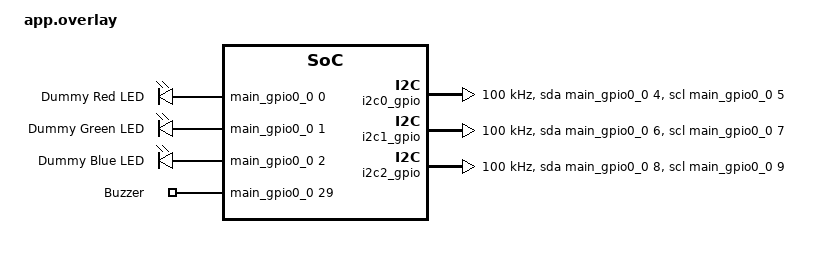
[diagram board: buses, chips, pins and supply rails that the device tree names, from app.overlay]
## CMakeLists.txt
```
cmake_minimum_required(VERSION 3.20.0)
find_package(Zephyr REQUIRED HINTS $ENV{ZEPHYR_BASE})
project(badge_launcher)

target_sources(app PRIVATE 
    src/main.c
    src/snake_game.c
    src/button_test.c
    src/beaglegotchi.c
    src/dvd_app.c
    
    # Assets
    src/assets/dvd/dvd.c
    src/assets/shutdown/qr.c
    src/assets/ti_logo.c
    src/assets/badge/badge_andrei.c
    src/assets/badge/sonia.c
    src/assets/badge/sonia.c
    src/assets/badge/roland.c
    src/assets/badge/tux155.c
    src/photos_app.c
    src/assets/photos/photo_1.c
    src/assets/photos/photo_2.c
    src/assets/photos/photo_3.c
    src/assets/photos/photo_4.c
    src/assets/photos/photo_5.c
    src/assets/photos/photo_6.c
    src/badge_mode_app.c
    src/i2c_scanner_app.c
    src/shutdown_app.c
    src/beagle_run.c
    src/space_invaders.c
    src/brick_breaker.c
    src/beagle_man.c
    src/froggr.c
    src/about_app.c
    src/serial_monitor.c
    src/timer_app.c
    src/chip_tunez.c
    src/assets/dvd/beagle.c
    src/assets/beaglegotchi/eating.c
    src/assets/beaglegotchi/hungry.c
    src/assets/beaglegotchi/sleeping.c
    src/assets/beaglegotchi/standard.c
)

target_include_directories(app PRIVATE src/assets/beaglegotchi)
```

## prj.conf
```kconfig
CONFIG_LOG=y
CONFIG_LOG_MODE_IMMEDIATE=y
CONFIG_CBPRINTF_FP_SUPPORT=y

CONFIG_GPIO=y
CONFIG_SERIAL=y
CONFIG_UART_INTERRUPT_DRIVEN=y
CONFIG_CONSOLE=y
CONFIG_UART_CONSOLE=y
CONFIG_RESET=y
CONFIG_SHELL=y

CONFIG_MAIN_STACK_SIZE=65536
CONFIG_HEAP_MEM_POOL_SIZE=16777216
CONFIG_LV_Z_MEM_POOL_SIZE=1048576
CONFIG_KERNEL_VM_SIZE=0x10000000

CONFIG_COMMON_LIBC_MALLOC=y


CONFIG_DISPLAY=y
CONFIG_DISPLAY_LOG_LEVEL_ERR=y

CONFIG_LV_Z_MEM_POOL_SIZE=131072
CONFIG_LV_Z_SHELL=y
CONFIG_LVGL=y
CONFIG_LV_USE_LOG=y
CONFIG_LV_USE_LABEL=y
# CONFIG_LV_USE_BTN is implicit/deprecated
# CONFIG_LV_USE_IMG is implicit/deprecated
CONFIG_LV_FONT_MONTSERRAT_14=y
CONFIG_LV_FONT_MONTSERRAT_18=y
CONFIG_LV_FONT_MONTSERRAT_24=y
CONFIG_LV_FONT_MONTSERRAT_48=y
CONFIG_LV_COLOR_DEPTH_1=y
CONFIG_LV_Z_VDB_SIZE=100
CONFIG_LV_Z_DOUBLE_VDB=n

CONFIG_INPUT=y
CONFIG_INPUT_LOG_LEVEL_DBG=y

CONFIG_SPI=y
CONFIG_SPI_BITBANG=y

CONFIG_I2C=y
CONFIG_I2C_GPIO=y

CONFIG_TEST_RANDOM_GENERATOR=y
CONFIG_ENTROPY_GENERATOR=y
```

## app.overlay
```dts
/*
 * Copyright (C) 2024 BeagleBoard.org
 *
 * SPDX-License-Identifier: Apache-2.0
 */

#include <zephyr/dt-bindings/gpio/gpio.h>

/ {
	aliases {
		btn-up = &btn_up;
		btn-down = &btn_down;
		btn-left = &btn_left;
		btn-right = &btn_right;
		btn-select = &btn_select;
		btn-back = &btn_back;
		led-red = &led_red_dummy;
		led-green = &led_green_dummy;
		led-blue = &led_blue_dummy;
		buzzer = &buzzer;
		i2c0 = &i2c0_gpio;
		i2c1 = &i2c1_gpio;
		i2c2 = &i2c2_gpio;
	};

	leds {
		compatible = "gpio-leds";
		led_red_dummy: led_red_dummy {
			gpios = <&main_gpio0_0 0 GPIO_ACTIVE_HIGH>;
			label = "Dummy Red LED";
		};
		led_green_dummy: led_green_dummy {
			gpios = <&main_gpio0_0 1 GPIO_ACTIVE_HIGH>;
			label = "Dummy Green LED";
		};
		led_blue_dummy: led_blue_dummy {
			gpios = <&main_gpio0_0 2 GPIO_ACTIVE_HIGH>;
			label = "Dummy Blue LED";
		};
	};

	buzzers {
		compatible = "gpio-leds"; // Move this to PWM when that starts working

		buzzer: buzzer_0 {
			gpios = <&main_gpio0_0 29 GPIO_ACTIVE_HIGH>;
			label = "Buzzer";
		};
	};


	i2c0_gpio: i2c0_gpio {
		compatible = "gpio-i2c";
		status = "okay";
		sda-gpios = <&main_gpio0_0 4 (GPIO_ACTIVE_HIGH | GPIO_OPEN_DRAIN)>;
		scl-gpios = <&main_gpio0_0 5 (GPIO_ACTIVE_HIGH | GPIO_OPEN_DRAIN)>;
		clock-frequency = <100000>;
		#address-cells = <1>;
		#size-cells = <0>;
	};

	i2c1_gpio: i2c1_gpio {
		compatible = "gpio-i2c";
		status = "okay";
		sda-gpios = <&main_gpio0_0 6 (GPIO_ACTIVE_HIGH | GPIO_OPEN_DRAIN)>;
		scl-gpios = <&main_gpio0_0 7 (GPIO_ACTIVE_HIGH | GPIO_OPEN_DRAIN)>;
		clock-frequency = <100000>;
		#address-cells = <1>;
		#size-cells = <0>;
	};

	i2c2_gpio: i2c2_gpio {
		compatible = "gpio-i2c";
		status = "okay";
		sda-gpios = <&main_gpio0_0 8 (GPIO_ACTIVE_HIGH | GPIO_OPEN_DRAIN)>;
		scl-gpios = <&main_gpio0_0 9 (GPIO_ACTIVE_HIGH | GPIO_OPEN_DRAIN)>;
		clock-frequency = <100000>;
		#address-cells = <1>;
		#size-cells = <0>;
	};
};
```

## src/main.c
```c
#include "about_app.h"
#include "app_shared.h"
#include "badge_mode_app.h"
#include "beagle_man.h"
#include "beagle_run.h"
#include "beaglegotchi.h"
#include "brick_breaker.h"
#include "button_test.h"
#include "chip_tunez.h"
#include "dvd_app.h"
#include "froggr.h" // Disabled in menu but include kept
#include "i2c_scanner_app.h"
#include "photos_app.h"
#include "serial_monitor.h"
#include "shutdown_app.h"
#include "snake_game.h"
#include "space_invaders.h" // Disabled
#include "timer_app.h"

#include <zephyr/drivers/display.h>
#include <zephyr/random/random.h>
#include <zephyr/version.h>

LOG_MODULE_REGISTER(badge_launcher);

/* Assets */
LV_IMG_DECLARE(ti_logo);
LV_IMG_DECLARE(beagle);

/* Hardware Definitions */
const struct gpio_dt_spec btn_up = GPIO_DT_SPEC_GET(DT_ALIAS(btn_up), gpios);
const struct gpio_dt_spec btn_down =
    GPIO_DT_SPEC_GET(DT_ALIAS(btn_down), gpios);
const struct gpio_dt_spec btn_left =
    GPIO_DT_SPEC_GET(DT_ALIAS(btn_left), gpios);
const struct gpio_dt_spec btn_right =
    GPIO_DT_SPEC_GET(DT_ALIAS(btn_right), gpios);
const struct gpio_dt_spec btn_select =
    GPIO_DT_SPEC_GET(DT_ALIAS(btn_select), gpios);
const struct gpio_dt_spec btn_back =
    GPIO_DT_SPEC_GET(DT_ALIAS(btn_back), gpios); // Using Back button

/* LEDs */
// Green, Blue or similar. I will use led0, led1, led2.
const struct gpio_dt_spec led_red = GPIO_DT_SPEC_GET(DT_ALIAS(led_red), gpios);
const struct gpio_dt_spec led_green =
    GPIO_DT_SPEC_GET(DT_ALIAS(led_green), gpios);
const struct gpio_dt_spec led_blue =
    GPIO_DT_SPEC_GET(DT_ALIAS(led_blue), gpios);

/* Buzzer */
const struct gpio_dt_spec buzzer = GPIO_DT_SPEC_GET(DT_ALIAS(buzzer), gpios);

/* Audio Helpers */
static bool is_muted = false;
void play_beep_move(void) {
  if (is_muted)
    return;
  if (gpio_is_ready_dt(&buzzer)) {
    for (int i = 0; i < 20; i++) {
      gpio_pin_set_dt(&buzzer, 1);
      k_usleep(250);
      gpio_pin_set_dt(&buzzer, 0);
      k_usleep(250);
    }
  }
}
void play_beep_eat(void) {
  if (is_muted)
    return;
  if (gpio_is_ready_dt(&buzzer)) {
    for (int i = 0; i < 50; i++) {
      gpio_pin_set_dt(&buzzer, 1);
      k_usleep(500 - (i * 5));
      gpio_pin_set_dt(&buzzer, 0);
      k_usleep(500 - (i * 5));
    }
  }
}
void play_beep_die(void) {
  if (is_muted)
    return;
  if (gpio_is_ready_dt(&buzzer)) {
    for (int i = 0; i < 100; i++) {
      gpio_pin_set_dt(&buzzer, 1);
      k_usleep(1000 + (i * 20));
      gpio_pin_set_dt(&buzzer, 0);
      k_usleep(1000 + (i * 20));
    }
  }
}

// --- Globals ---
static App *current_app = NULL;
static App *next_app = NULL;
static bool menu_needs_redraw = true;

// --- Mute Toggle App ---
static char mute_app_name[20] = "Sound: ON";

static void update_mute_label(void) {
  if (is_muted) {
    snprintf(mute_app_name, sizeof(mute_app_name), "Sound: OFF");
  } else {
    snprintf(mute_app_name, sizeof(mute_app_name), "Sound: ON");
  }
}

static void mute_app_enter(void) {
  is_muted = !is_muted;
  update_mute_label();
  if (!is_muted) {
    play_beep_move();
  }
}

// Forward declaration of menu_app for return logic
extern App menu_app;
static void mute_app_return(void) { next_app = &menu_app; }

static void mute_app_exit(void) {}

App mute_app = {.name = mute_app_name,
                .enter = mute_app_enter,
                .update = mute_app_return,
                .exit = mute_app_exit};

/* Menu App */
/* Menu App Logic */

// --- Category Arrays ---
// Games
static App *apps_games[] = {
    &beaglegotchi_app, &snake_game_app,
    //&beagle_run_app, &space_invaders_app, // Disabled
    &brick_breaker_app,
    //&beagle_man_app, &froggr_app // Disabled
};
#define NUM_GAMES 3

// Apps (Badge Mode moved to root)
static App *apps_apps[] = {&dvd_app, &chip_tunez_app, &timer_app, &photos_app};
#define NUM_APPS_CAT 4

// Tools
static App *apps_tools[] = {&i2c_scanner_app, &button_test_app,
                            &serial_monitor_app};
#define NUM_TOOLS 3

// Settings
static App *apps_settings[] = {&mute_app, &about_app, &shutdown_app};
#define NUM_SETTINGS 3

// Root Categories (Added Badge Mode)
static const char *category_names[] = {"Badge Mode", "Apps", "Games", "Tools",
                                       "Settings"};
#define NUM_CATEGORIES 5

// --- State ---
typedef enum { MENU_ROOT, MENU_SUBMENU } MenuState;

static MenuState current_state = MENU_ROOT;
static int selected_index = 0; // Index within current view (Category or App)
static int selected_category_index = 0; // Remember selected category
static App **current_app_list = NULL;   // Pointer to current submenu array
static int current_list_count = 0;

static lv_obj_t *menu_list_cont;
static lv_obj_t *arrow_up;
static lv_obj_t *arrow_down;
static lv_obj_t *menu_items[10]; // Max items viewable/cache

static void update_menu_selection(void); // Forward Declaration

static void create_menu_item(lv_obj_t *parent, int index, const char *text) {
  // Container
  lv_obj_t *cont = lv_obj_create(parent);
  lv_obj_set_size(cont, LV_PCT(100),
                  40); // Fill width of parent column, fixed height
  lv_obj_set_style_pad_all(cont, 0, 0);
  lv_obj_set_style_border_width(cont, 1, 0); // 1px border by default
  lv_obj_set_style_radius(cont, 0, 0);       // No radius for sharp E-Ink look

  // Label
  lv_obj_t *label = lv_label_create(cont);
  lv_label_set_text(label, text);
  lv_obj_center(label);
  // Use Montserat 18 for readability
  lv_obj_set_style_text_font(label, &lv_font_montserrat_18, 0);

  menu_items[index] = cont;
}

static int view_start = 0;
#define MAX_VISIBLE_ITEMS 5

static void update_menu_selection(void) {
  int count =
      (current_state == MENU_ROOT) ? NUM_CATEGORIES : current_list_count;

  // Viewport Count (How many items are actually visible)
  int visible_count = count;
  if (visible_count > MAX_VISIBLE_ITEMS)
    visible_count = MAX_VISIBLE_ITEMS;

  for (int i = 0; i < visible_count; i++) {
    lv_obj_t *cont = menu_items[i];
    if (!cont)
      continue; // Should not happen

    lv_obj_t *label = lv_obj_get_child(cont, 0);

    // Calculate which data index this item represents
    int data_index = view_start + i;

    if (data_index == selected_index) {
      // Selected
      lv_obj_set_style_bg_color(cont, lv_color_black(), 0);
      lv_obj_set_style_bg_opa(cont, LV_OPA_COVER, 0);
      lv_obj_set_style_border_color(cont, lv_color_black(), 0);
      lv_obj_set_style_text_color(label, lv_color_white(), 0);
      // lv_obj_scroll_to_view(cont, LV_ANIM_OFF); // Disabled
    } else {
      // Unselected
      lv_obj_set_style_bg_color(cont, lv_color_white(), 0);
      lv_obj_set_style_bg_opa(cont, LV_OPA_COVER, 0);
      lv_obj_set_style_border_color(cont, lv_color_black(), 0);
      lv_obj_set_style_text_color(label, lv_color_black(), 0);
    }
  }

  // Arrows (Using global bounds)
  if (arrow_up) {
    if (selected_index > 0)
      lv_obj_set_style_text_opa(arrow_up, LV_OPA_COVER, 0);
    else
      lv_obj_set_style_text_opa(arrow_up, LV_OPA_TRANSP, 0);
  }
  if (arrow_down) {
    if (selected_index < count - 1)
      lv_obj_set_style_text_opa(arrow_down, LV_OPA_COVER, 0);
    else
      lv_obj_set_style_text_opa(arrow_down, LV_OPA_TRANSP, 0);
  }
}

// Rebuilds list with Viewport Logic
static void rebuild_menu_list(void) {
  if (!menu_list_cont)
    return;

  // Clear array
  for (int i = 0; i < 10; i++)
    menu_items[i] = NULL;
  lv_obj_clean(menu_list_cont);

  int total_count = 0;
  if (current_state == MENU_ROOT) {
    total_count = NUM_CATEGORIES;
  } else {
    total_count = current_list_count;
  }

  // Calculate View Start (Keep Selection Visible)
  if (total_count <= MAX_VISIBLE_ITEMS) {
    view_start = 0;
  } else {
    // Logic: Ensure selected_index is inside [view_start, view_start + MAX-1]
    if (selected_index < view_start) {
      view_start = selected_index;
    } else if (selected_index >= view_start + MAX_VISIBLE_ITEMS) {
      view_start = selected_index - MAX_VISIBLE_ITEMS + 1;
    }

    // Clamp (Should generally be covered by above, but safe to clamp)
    if (view_start < 0)
      view_start = 0;
    if (view_start > total_count - MAX_VISIBLE_ITEMS)
      view_start = total_count - MAX_VISIBLE_ITEMS;
  }

  // Determine Render List Count
  int render_count = total_count;
  if (render_count > MAX_VISIBLE_ITEMS)
    render_count = MAX_VISIBLE_ITEMS;

  for (int i = 0; i < render_count; i++) {
    int data_index = view_start + i;

    // Safety check
    if (data_index >= total_count)
      break;

    const char *text = "";
    if (current_state == MENU_ROOT) {
      text = category_names[data_index];
    } else {
      text = current_app_list[data_index]->name;
    }

    create_menu_item(menu_list_cont, i, text);
  }

  update_menu_selection();
}

static void menu_enter(void) {
  LOG_INF("Entering Menu App. State: %d", current_state);
  update_mute_label(); // Ensure label matches state
  lv_obj_clean(lv_scr_act());
  lv_obj_set_style_bg_opa(lv_scr_act(), LV_OPA_COVER,
                          0); // Ensure solid background
  lv_obj_set_style_bg_color(lv_scr_act(), lv_color_white(), 0);

  // Main Flex Container - ROW Layout (Side-by-Side)
  lv_obj_t *main_flex = lv_obj_create(lv_scr_act());
  lv_obj_set_size(main_flex, LV_PCT(100), LV_PCT(100));
  lv_obj_set_style_border_width(main_flex, 0, 0);
  lv_obj_set_style_pad_all(main_flex, 0, 0);
  lv_obj_set_flex_flow(main_flex, LV_FLEX_FLOW_ROW); // Horizontal
  lv_obj_set_flex_align(main_flex, LV_FLEX_ALIGN_START, LV_FLEX_ALIGN_CENTER,
                        LV_FLEX_ALIGN_CENTER);
  lv_obj_set_style_bg_opa(main_flex, LV_OPA_TRANSP, 0);

  // 1. Left Panel (Logo + Title) - 40% Width
  lv_obj_t *left_panel = lv_obj_create(main_flex);
  lv_obj_set_size(left_panel, LV_PCT(40), LV_PCT(100));
  lv_obj_set_style_border_width(left_panel, 0, 0);
  lv_obj_set_style_bg_opa(left_panel, LV_OPA_TRANSP, 0);
  lv_obj_set_flex_flow(left_panel, LV_FLEX_FLOW_COLUMN);
  lv_obj_set_flex_align(left_panel, LV_FLEX_ALIGN_CENTER, LV_FLEX_ALIGN_CENTER,
                        LV_FLEX_ALIGN_CENTER);
  lv_obj_set_style_pad_all(left_panel, 10, 0);

  // TI Logo / Beagle Logo / Tux Logo (Random)
  extern const lv_img_dsc_t tux155; // Extern declaration if not in header
  // Better: LV_IMG_DECLARE(tux155);
  // Wait, I should declare it at the top with others.
  // But for now, let's keep it here or check top of file.
  // Top of file has LV_IMG_DECLAREs. I should add it there first ideally.
  // I'll assume I can add the declare at the top in a separate edit or just use
  // extern here. Actually, replace_file_content can handle multiple chunks? No,
  // I am using replace_file_content which is single chunk. I will just use
  // LV_IMG_DECLARE(tux155); right before usage since it's valid C.

  LV_IMG_DECLARE(tux155);

  lv_obj_t *logo = lv_img_create(left_panel);
  int rand_val = sys_rand32_get() % 3;
  if (rand_val == 0) {
    lv_img_set_src(logo, &ti_logo);
  } else if (rand_val == 1) {
    lv_img_set_src(logo, &beagle);
  } else {
    lv_img_set_src(logo, &tux155);
  }

  // Title Text (Wrapped)
  lv_obj_t *title = lv_label_create(left_panel);
  lv_label_set_text(title, "Beagle\nBadge");
  lv_obj_set_style_text_align(title, LV_TEXT_ALIGN_CENTER, 0);
  lv_obj_set_style_text_font(title, &lv_font_montserrat_24, 0);
  lv_obj_set_style_text_color(title, lv_color_black(), 0);

  // Zephyr Version
  lv_obj_t *z_version = lv_label_create(left_panel);
  lv_label_set_text(z_version, "Zephyr - " KERNEL_VERSION_STRING);
  lv_obj_set_style_text_align(z_version, LV_TEXT_ALIGN_CENTER, 0);
  lv_obj_set_style_text_font(z_version, &lv_font_montserrat_14, 0);

  // Version Text
  lv_obj_t *version = lv_label_create(left_panel);
  lv_label_set_text(version, "Build - 122525");
  lv_obj_set_style_text_align(version, LV_TEXT_ALIGN_CENTER, 0);
  lv_obj_set_style_text_font(version, &lv_font_montserrat_14,
                             0); // Smaller font

  // Divider Line (Vertical) between panels
  lv_obj_t *line = lv_obj_create(main_flex);
  lv_obj_set_size(line, 2, LV_PCT(90));
  lv_obj_set_style_bg_color(line, lv_color_black(), 0);
  lv_obj_set_style_bg_opa(line, LV_OPA_COVER, 0);
  lv_obj_set_style_border_width(line, 0, 0);

  // 2. Right Panel (Menu List)
  lv_obj_t *right_panel = lv_obj_create(main_flex);
  lv_obj_set_size(right_panel, LV_PCT(55), LV_PCT(100));
  lv_obj_set_style_border_width(right_panel, 0, 0);
  lv_obj_set_style_bg_opa(right_panel, LV_OPA_TRANSP, 0);
  lv_obj_set_flex_flow(right_panel, LV_FLEX_FLOW_COLUMN);
  lv_obj_set_flex_align(right_panel, LV_FLEX_ALIGN_CENTER, LV_FLEX_ALIGN_CENTER,
                        LV_FLEX_ALIGN_CENTER);
  lv_obj_set_style_pad_all(right_panel, 0, 0);
  lv_obj_set_scrollbar_mode(right_panel, LV_SCROLLBAR_MODE_OFF);
  lv_obj_clear_flag(right_panel, LV_OBJ_FLAG_SCROLLABLE);

  // Arrow Up
  arrow_up = lv_label_create(right_panel);
  lv_label_set_text(arrow_up, LV_SYMBOL_UP); // Or "^"
  lv_obj_set_style_text_font(arrow_up, &lv_font_montserrat_24, 0);
  // Initial Opacity State
  if (selected_index > 0)
    lv_obj_set_style_text_opa(arrow_up, LV_OPA_COVER, 0);
  else
    lv_obj_set_style_text_opa(arrow_up, LV_OPA_TRANSP, 0);

  // Scroll Container
  menu_list_cont = lv_obj_create(right_panel);
  lv_obj_set_width(menu_list_cont, LV_PCT(100));
  // Fixed height: 5 items * 40px + 4 gaps * 5px + 10px padding = 230px.
  // Set to 230px to fit exactly.
  lv_obj_set_height(menu_list_cont, 230);
  lv_obj_set_style_border_width(menu_list_cont, 0, 0);
  lv_obj_set_flex_flow(menu_list_cont, LV_FLEX_FLOW_COLUMN);
  lv_obj_set_style_pad_all(menu_list_cont, 5, 0);
  lv_obj_set_style_pad_gap(menu_list_cont, 5, 0);
  lv_obj_set_scrollbar_mode(menu_list_cont, LV_SCROLLBAR_MODE_OFF);
  lv_obj_clear_flag(menu_list_cont, LV_OBJ_FLAG_SCROLLABLE);

  // Arrow Down
  arrow_down = lv_label_create(right_panel);
  lv_label_set_text(arrow_down, LV_SYMBOL_DOWN); // Or "v"
  lv_obj_set_style_text_font(arrow_down, &lv_font_montserrat_24, 0);
  // Initial Opacity State
  if (selected_index < NUM_CATEGORIES - 1)
    lv_obj_set_style_text_opa(arrow_down, LV_OPA_COVER, 0);
  else
    lv_obj_set_style_text_opa(arrow_down, LV_OPA_TRANSP, 0);

  rebuild_menu_list();
  menu_needs_redraw = true;
}

static void menu_update(void) {

  static int btn_up_prev = 0;
  static int btn_right_prev = 0;
  static int btn_back_prev = 0;
  static int btn_left_prev = 0;
  static int btn_down_prev = 0;
  static int btn_select_prev = 0;

  int btn_up_curr = gpio_pin_get_dt(&btn_up);
  int btn_right_curr = gpio_pin_get_dt(&btn_right); // Select
  int btn_back_curr = gpio_pin_get_dt(&btn_back);
  int btn_left_curr = gpio_pin_get_dt(&btn_left);
  int btn_down_curr = gpio_pin_get_dt(&btn_down);
  int btn_select_curr = gpio_pin_get_dt(&btn_select);

  bool action_taken = false;
  int current_max =
      (current_state == MENU_ROOT) ? NUM_CATEGORIES : current_list_count;

  // --- UP Button (Cycles Up/Wrap) ---
  if (btn_up_curr && !btn_up_prev) {
    LOG_INF("UP Pressed. Old Index: %d, Max: %d", selected_index, current_max);
    selected_index--;
    if (selected_index < 0)
      selected_index = current_max - 1; // Wrap to bottom
    LOG_INF("New Index: %d", selected_index);
    play_beep_move();

    // Force Rebuild to prevent ghosting/artifacts on E-Ink
    rebuild_menu_list();
    action_taken = true;
  }

  // --- DOWN Button (Cycles Down/Wrap) ---
  if (btn_down_curr && !btn_down_prev) {
    LOG_INF("DOWN Pressed. Old Index: %d, Max: %d", selected_index,
            current_max);
    selected_index++;
    if (selected_index >= current_max)
      selected_index = 0; // Wrap to top
    LOG_INF("New Index: %d", selected_index);
    play_beep_move();

    rebuild_menu_list();
    action_taken = true;
  }

  // --- RIGHT Button (Select/Enter) ---
  if ((btn_right_curr && !btn_right_prev) ||
      (btn_select_curr && !btn_select_prev)) {
    play_beep_eat();
    if (current_state == MENU_ROOT) {
      if (selected_index == 0) {
        // Badge Mode
        next_app = &badge_mode_app;
        action_taken = true;
      } else {
        // ENTER SUBMENU
        selected_category_index = selected_index;
        current_state = MENU_SUBMENU;

        if (selected_index == 1) { // Apps
          current_app_list = apps_apps;
          current_list_count = NUM_APPS_CAT;
        } else if (selected_index == 2) { // Games
          current_app_list = apps_games;
          current_list_count = NUM_GAMES;
        } else if (selected_index == 3) { // Tools
          current_app_list = apps_tools;
          current_list_count = NUM_TOOLS;
        } else { // Settings
          current_app_list = apps_settings;
          current_list_count = NUM_SETTINGS;
        }
        selected_index = 0; // Reset for submenu
        rebuild_menu_list();
      }
    } else {
      // Check for Special 'Actions' like Mute
      if (current_app_list[selected_index] == &mute_app) {
        is_muted = !is_muted;
        update_mute_label();
        if (!is_muted)
          play_beep_move();
        rebuild_menu_list(); // Refresh visuals immediately
      } else {
        // LAUNCH NORMAL APP
        next_app = current_app_list[selected_index];
      }
    }
    action_taken = true;
  }

  // --- BACK Button (Return to Root) ---
  // Using actual Back button OR Left button
  if ((btn_back_curr && !btn_back_prev) || (btn_left_curr && !btn_left_prev)) {
    if (current_state == MENU_SUBMENU) {
      play_beep_move();
      current_state = MENU_ROOT;
      selected_index = selected_category_index; // Restore position
      rebuild_menu_list();
      action_taken = true;
    }
  }

  btn_up_prev = btn_up_curr;
  btn_right_prev = btn_right_curr;
  btn_back_prev = btn_back_curr;
  btn_left_prev = btn_left_curr;
  btn_down_prev = btn_down_curr;
  btn_select_prev = btn_select_curr;

  if (action_taken || menu_needs_redraw) {
    menu_needs_redraw = false;
    // update_menu_selection(); // Rebuild handles this now
    // Invalidate the list container to ensure redraw
    if (menu_list_cont)
      lv_obj_invalidate(menu_list_cont);
  }
}

static void menu_exit(void) {}

App menu_app = {.name = "Menu",
                .enter = menu_enter,
                .update = menu_update,
                .exit = menu_exit};

int main(void) {
  /* Init Drivers */
  gpio_pin_configure_dt(&btn_up, GPIO_INPUT);
  gpio_pin_configure_dt(&btn_down, GPIO_INPUT);
  gpio_pin_configure_dt(&btn_left, GPIO_INPUT);
  gpio_pin_configure_dt(&btn_right, GPIO_INPUT);
  gpio_pin_configure_dt(&btn_select, GPIO_INPUT);
  gpio_pin_configure_dt(&btn_back, GPIO_INPUT);

  // Outputs
  if (gpio_is_ready_dt(&led_red))
    gpio_pin_configure_dt(&led_red, GPIO_OUTPUT_INACTIVE);
  if (gpio_is_ready_dt(&led_green))
    gpio_pin_configure_dt(&led_green, GPIO_OUTPUT_INACTIVE);
  if (gpio_is_ready_dt(&led_blue))
    gpio_pin_configure_dt(&led_blue, GPIO_OUTPUT_INACTIVE);
  if (gpio_is_ready_dt(&buzzer))
    gpio_pin_configure_dt(&buzzer, GPIO_OUTPUT_INACTIVE);

  current_app = &menu_app;
  current_app->enter();

  while (1) {
    lv_task_handler();

    // Global Back Logic (Debounced slightly)
    static int64_t last_back_time = 0;
    int64_t now_main = k_uptime_get();
    if (gpio_pin_get_dt(&btn_back) && current_app != &menu_app) {
      if (now_main - last_back_time > 300) {
        next_app = &menu_app;
        last_back_time = now_main;
      }
    }

    if (next_app) {
      if (current_app->exit) {
        current_app->exit();
      }

      // IF returning to MENU, perform full E-Ink Clear (Black -> White)
      // This removes ghosting from previous apps (especially dark ones like
      // Snake/I2C)
      if (next_app == &menu_app) {
        // 1. Black
        lv_obj_t *black_curtain = lv_obj_create(lv_scr_act());
        lv_obj_set_size(black_curtain, LV_PCT(100), LV_PCT(100));
        lv_obj_set_style_bg_color(black_curtain, lv_color_black(), 0);
        lv_obj_set_style_bg_opa(black_curtain, LV_OPA_COVER, 0);
        lv_obj_set_style_border_width(black_curtain, 0, 0);
        lv_task_handler();    // Render Black
        k_sleep(K_MSEC(100)); // Wait for E-Ink

        // 2. White (Clear)
        lv_obj_del(black_curtain);
      }

      // Always ensure clean slate
      lv_obj_clean(lv_scr_act());
      lv_obj_set_style_bg_opa(lv_scr_act(), LV_OPA_COVER, 0);
      lv_obj_set_style_bg_color(lv_scr_act(), lv_color_white(), 0);
      lv_task_handler(); // Render White
      k_sleep(K_MSEC(50));

      current_app = next_app;
      next_app = NULL;
      current_app->enter();
    }

    // Fallback: If no next_app, just update current
    if (current_app) {
      current_app->update();
    }

    k_sleep(K_MSEC(10)); // Prevent CPU hogging
  }
  return 0;
}

void return_to_menu(void) { next_app = &menu_app; }
```

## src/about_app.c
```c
#include "about_app.h"

static lv_obj_t *main_cont;

static void about_enter(void) {
  main_cont = lv_obj_create(lv_scr_act());
  lv_obj_set_size(main_cont, LV_PCT(100), LV_PCT(100));
  lv_obj_set_style_bg_color(main_cont, lv_color_white(), 0);
  lv_obj_set_scrollbar_mode(main_cont, LV_SCROLLBAR_MODE_OFF);
  lv_obj_clear_flag(main_cont, LV_OBJ_FLAG_SCROLLABLE);

  lv_obj_t *label = lv_label_create(main_cont);
  lv_label_set_text(
      label,
      "This badge is a labor of love by a diverse\n"
      "team of engineers and makers.\n\n"
      "Huge thanks to - in no particular order: \n\n"
      "Andrei Aldea, Andrew Davis, Judith Mendez, Bryan Brattlof, Devarsh "
      "Thakkar, Jonas Wood, Dhruva Gole, Yogesh Hegde, Sebin Francis, Soumya "
      "Tripathy, Vignesh Raghavendra, Praneeth Bajjuri\n\n"
      "And many others at Texas Instruments, BeagleBoard and Seeed Studio\n\n"
      "(Press BACK to Return)");

  lv_obj_set_width(label, LV_PCT(90));
  lv_obj_set_style_text_align(label, LV_TEXT_ALIGN_CENTER, 0);
  lv_obj_set_style_text_font(label, &lv_font_montserrat_14, 0);
  lv_obj_set_style_text_color(label, lv_color_black(), 0);
  lv_obj_center(label);
}

static void about_update(void) {
  // Back handling is done by global main loop now
}

static void about_exit(void) {
  if (main_cont) {
    lv_obj_del(main_cont);
    main_cont = NULL;
  }
}

App about_app = {.name = "About",
                 .enter = about_enter,
                 .update = about_update,
                 .exit = about_exit};
```

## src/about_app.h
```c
#ifndef ABOUT_APP_H
#define ABOUT_APP_H

#include "app_shared.h"

extern App about_app;

#endif
```

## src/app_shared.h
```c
#ifndef APP_SHARED_H
#define APP_SHARED_H

#include <lvgl.h>
#include <zephyr/drivers/gpio.h>
#include <zephyr/kernel.h>
#include <zephyr/logging/log.h>

/* App Interface */
typedef struct {
  const char *name;
  void (*enter)(void);
  void (*update)(void);
  void (*exit)(void);
} App;

/* Hardware Definitions (Available to all apps) */
extern const struct gpio_dt_spec btn_up;
extern const struct gpio_dt_spec btn_down;
extern const struct gpio_dt_spec btn_left;
extern const struct gpio_dt_spec btn_right;
extern const struct gpio_dt_spec btn_select;
extern const struct gpio_dt_spec btn_back;

extern const struct gpio_dt_spec led_red;
extern const struct gpio_dt_spec led_green;
extern const struct gpio_dt_spec led_blue;

extern const struct gpio_dt_spec buzzer;

/* Helper Functions */
void play_beep_move(void);
void play_beep_eat(void);
void play_beep_die(void);

void return_to_menu(void);

#endif
```

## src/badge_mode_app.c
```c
#include "badge_mode_app.h"
#include <zephyr/drivers/display.h>

LOG_MODULE_DECLARE(badge_launcher);

// Declare the converted image asset
LV_IMG_DECLARE(badge_andrei);
LV_IMG_DECLARE(sonia);
LV_IMG_DECLARE(roland);

// Array of badge images - extensible
static const lv_img_dsc_t *badge_images[] = {
    &sonia,
    &roland,
    &badge_andrei,
};
#define NUM_BADGE_IMAGES (sizeof(badge_images) / sizeof(badge_images[0]))

static int current_image_idx = 0;
static bool is_locked = false;

static lv_obj_t *img_obj;
static lv_obj_t *lock_label;

static void update_image(void) {
  if (img_obj) {
    lv_img_set_src(img_obj, badge_images[current_image_idx]);
  }
}

static void update_lock_indicator(void) {
  if (lock_label) {
    if (is_locked) {
      lv_obj_clear_flag(lock_label, LV_OBJ_FLAG_HIDDEN);
    } else {
      lv_obj_add_flag(lock_label, LV_OBJ_FLAG_HIDDEN);
    }
  }
}

static void badge_enter(void) {
  lv_obj_clean(lv_scr_act());
  // Ensure solid white background
  lv_obj_set_style_bg_opa(lv_scr_act(), LV_OPA_COVER, 0);
  lv_obj_set_style_bg_color(lv_scr_act(), lv_color_white(), 0);
  lv_obj_set_scrollbar_mode(lv_scr_act(), LV_SCROLLBAR_MODE_OFF);

  // 1. Full Screen Image
  img_obj = lv_img_create(lv_scr_act());
  lv_obj_center(img_obj); // Center it (400x300 should fill screen)
  update_image();

  // 2. Lock Indicator "L"
  lock_label = lv_label_create(lv_scr_act());
  lv_label_set_text(lock_label, "L");
  lv_obj_set_style_text_font(lock_label, &lv_font_montserrat_14,
                             0); // Small indicator
  lv_obj_set_style_text_color(lock_label, lv_color_black(), 0);
  lv_obj_set_style_bg_color(lock_label, lv_color_white(), 0);
  lv_obj_set_style_bg_opa(lock_label, LV_OPA_COVER,
                          0); // Opaque background to be visible over image
  lv_obj_set_style_pad_all(lock_label, 2, 0);
  lv_obj_align(lock_label, LV_ALIGN_TOP_LEFT, 5, 5); // Top Left corner

  update_lock_indicator();
}

static void badge_update(void) {
  static int btn_left_prev = 0;
  static int btn_right_prev = 0;
  static int btn_select_prev = 0;

  int btn_left_curr = gpio_pin_get_dt(&btn_left);
  int btn_right_curr = gpio_pin_get_dt(&btn_right);
  int btn_select_curr = gpio_pin_get_dt(&btn_select);

  // --- Select Button (Toggle Lock) ---
  if (btn_select_curr && !btn_select_prev) {
    is_locked = !is_locked;
    update_lock_indicator();
    // Beep on lock toggle? Maybe minor beep
    // play_beep_move();
  }

  // --- Navigation (Only if Unlocked) ---
  if (!is_locked) {
    // Left
    if (btn_left_curr && !btn_left_prev) {
      current_image_idx--;
      if (current_image_idx < 0)
        current_image_idx = NUM_BADGE_IMAGES - 1;
      update_image();
    }
    // Right
    if (btn_right_curr && !btn_right_prev) {
      current_image_idx++;
      if (current_image_idx >= NUM_BADGE_IMAGES)
        current_image_idx = 0;
      update_image();
    }
  }

  btn_left_prev = btn_left_curr;
  btn_right_prev = btn_right_curr;
  btn_select_prev = btn_select_curr;
}

static void badge_exit(void) {
  // Reset state on exit? Or keep it?
  // Let's keep state so user returns to same image/lock state if they
  // accidentally backed out Actually, usually exit implies cleanup. But static
  // vars persist.
}

App badge_mode_app = {.name = "Badge Mode",
                      .enter = badge_enter,
                      .update = badge_update,
                      .exit = badge_exit};
```

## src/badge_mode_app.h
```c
#ifndef BADGE_MODE_APP_H
#define BADGE_MODE_APP_H

#include "app_shared.h"

extern App badge_mode_app;

#endif // BADGE_MODE_APP_H
```

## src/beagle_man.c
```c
#include "beagle_man.h"
#include <zephyr/random/random.h>

LOG_MODULE_REGISTER(beagle_man, LOG_LEVEL_INF);

// --- Constants ---
#define COLS 20
#define ROWS 15
#define CELL_SIZE 20

// Map Tiles
#define TILE_EMPTY 0
#define TILE_WALL 1
#define TILE_DOT 2
#define TILE_POWER 3 // Not used yet, maybe later

// Entities
typedef struct {
  int x;
  int y;
  int dir_x;
  int dir_y;
  int next_dir_x; // Buffered Input
  int next_dir_y;
} Entity;

static Entity player;
static Entity ghost; // Single ghost for now
static int score;
static bool game_over;
static bool win_state;
static int64_t last_tick;
static int game_speed = 250;

// Map (1 = Wall, 0 = Empty/Dot placeholder)
// We will generate dots at runtime in empty spaces
static int map[COLS][ROWS];
static bool dots[COLS][ROWS];

// Static Map Layout (Simple symmetrical maze)
// 1: Wall, 0: Path
static const int initial_map[ROWS][COLS] = {
    {1, 1, 1, 1, 1, 1, 1, 1, 1, 1, 1, 1, 1, 1, 1, 1, 1, 1, 1, 1},
    {1, 0, 0, 0, 0, 0, 0, 0, 0, 1, 1, 0, 0, 0, 0, 0, 0, 0, 0, 1}, // Row 1
    {1, 0, 1, 1, 1, 0, 1, 1, 0, 1, 1, 0, 1, 1, 0, 1, 1, 1, 0, 1}, // Row 2
    {1, 0, 1, 1, 1, 0, 1, 1, 0, 1, 1, 0, 1, 1, 0, 1, 1, 1, 0, 1},
    {1, 0, 0, 0, 0, 0, 0, 0, 0, 0, 0, 0, 0, 0, 0, 0, 0, 0, 0, 1}, // Row 4
    {1, 0, 1, 1, 1, 0, 1, 0, 1, 1, 1, 1, 0, 1, 0, 1, 1, 1, 0, 1},
    {1, 0, 0, 0, 0, 0, 1, 0, 0, 1, 1, 0, 0, 1, 0, 0, 0, 0, 0, 1}, // Row 6
    {1, 1, 1, 1, 1, 0, 1, 1, 0, 0,
     0, 0, 1, 1, 0, 1, 1, 1, 1, 1}, // Row 7 (Ghost House limit?)
    {1, 0, 0, 0, 0, 0, 1, 0, 0, 0, 0, 0, 0, 1, 0, 0, 0, 0, 0, 1}, // Row 8
    {1, 0, 1, 1, 1, 0, 1, 0, 1, 1, 1, 1, 0, 1, 0, 1, 1, 1, 0, 1},
    {1, 0, 0, 1, 1, 0, 0, 0, 0, 1, 1, 0, 0, 0, 0, 1, 1, 0, 0, 1}, // Row 10
    {1, 1, 0, 1, 1, 0, 1, 1, 0, 1, 1, 0, 1, 1, 0, 1, 1, 0, 1, 1},
    {1, 0, 0, 0, 0, 0, 0, 0, 0, 0, 0, 0, 0, 0, 0, 0, 0, 0, 0, 1}, // Row 12
    {1, 0, 1, 1, 1, 1, 1, 1, 1, 1, 1, 1, 1, 1, 1, 1, 1, 1, 0, 1},
    {1, 1, 1, 1, 1, 1, 1, 1, 1, 1, 1, 1, 1, 1, 1, 1, 1, 1, 1, 1}};

// --- UI Objects ---
static lv_obj_t *main_cont;
static lv_obj_t *score_label;
static lv_obj_t *game_over_label;
static lv_obj_t *grid_cells[COLS][ROWS];

static void set_cell_color(int x, int y, lv_color_t color) {
  if (x >= 0 && x < COLS && y >= 0 && y < ROWS && grid_cells[x][y]) {
    lv_obj_set_style_bg_color(grid_cells[x][y], color, 0);
  }
}

// Draw a small dot? We can just use a grey color or checkerboard?
// For pure grid: Wall=Black, Empty=White, Dot=Light Grey?
// Or: Wall=Black, Dot=Small square?
// Limitation: We are coloring the WHOLE cell.
// Solution: Dot = Light Grey Cell. Wall = Black. Player = Dark Blue/Black?
// Let's use:
// Wall: BLACK
// Empty: WHITE
// Dot: GREY (lv_palette_lighten(LV_PALETTE_GREY, 2))
// Player: RED (or Black if mono) -> Let's use Checkered or just Black/White.
// E-Ink is mono (mostly).
// Wall = Black.
// Dot = Light Grey (Dithering) -> might look messy.
// Let's allow Dot = White, Wall = Black.
// Player = Black (Blinking?) or just Black.
// Wait, if Player is Black and Wall is Black, how to distinguish?
// Player = Inverted?
// Let's make Walls GREY (Dithered Black) and Player/Ghost BLACK SOLID.
// Dots: White? (Invisible?)
// Actually, let's use: Wall = Black. Path = White. Dot = Small Black center?
// We can't draw sub-pixel in this static grid engine.
// Okay: Dot = Grey Cell. Player = Black. Wall = Black.
// Player vs Wall collisions prevent overlap, so visuals are fine.
// Dot vs Empty: Grey vs White.

static void render_game(void) {
  for (int x = 0; x < COLS; x++) {
    for (int y = 0; y < ROWS; y++) {
      lv_color_t color = lv_color_white();

      // 1. Static Map
      if (map[x][y] == TILE_WALL) {
        color = lv_color_black();
      } else if (dots[x][y]) {
        color = lv_palette_lighten(LV_PALETTE_GREY, 2); // Dot
      }

      // 2. Entities
      if (x == player.x && y == player.y) {
        color = lv_palette_main(LV_PALETTE_BLUE); // Player (Dark on mono)
      }
      if (x == ghost.x && y == ghost.y) {
        color = lv_palette_main(LV_PALETTE_RED); // Ghost
      }

      set_cell_color(x, y, color);
    }
  }
}

static void reset_game(void) {
  // Copy Map
  for (int y = 0; y < ROWS; y++) {
    for (int x = 0; x < COLS; x++) {
      map[x][y] = initial_map[y][x];
      dots[x][y] = (map[x][y] == 0); // Dot in every empty space
    }
  }

  // Player Start (Center-Left)
  player.x = 1;
  player.y = 1;
  player.dir_x = 0;
  player.dir_y = 0;
  player.next_dir_x = 1; // Start moving right
  player.next_dir_y = 0;

  // Ghost Start (Center-Right)
  ghost.x = COLS - 2;
  ghost.y = ROWS - 2;
  ghost.dir_x = 0;
  ghost.dir_y = 0;

  // Clear Start/End zones of dots
  dots[1][1] = false;
  dots[COLS - 2][ROWS - 2] = false;

  score = 0;
  game_over = false;
  win_state = false;

  if (game_over_label)
    lv_obj_add_flag(game_over_label, LV_OBJ_FLAG_HIDDEN);
  if (score_label)
    lv_label_set_text(score_label, "Score: 0");

  render_game();
}

static void beagle_man_enter(void) {
  main_cont = lv_obj_create(lv_scr_act());
  lv_obj_set_size(main_cont, LV_PCT(100), LV_PCT(100));
  lv_obj_set_style_bg_color(main_cont, lv_color_white(), 0);
  lv_obj_set_scrollbar_mode(main_cont, LV_SCROLLBAR_MODE_OFF);

  // Grid
  for (int x = 0; x < COLS; x++) {
    for (int y = 0; y < ROWS; y++) {
      lv_obj_t *cell = lv_obj_create(main_cont);
      lv_obj_set_size(cell, CELL_SIZE, CELL_SIZE);
      lv_obj_set_pos(cell, x * CELL_SIZE, y * CELL_SIZE);
      lv_obj_set_style_border_width(cell, 0, 0);
      lv_obj_set_style_radius(cell, 0, 0);
      grid_cells[x][y] = cell;
    }
  }

  // UI
  score_label = lv_label_create(main_cont);
  lv_obj_align(score_label, LV_ALIGN_TOP_RIGHT, -10, 5);
  lv_obj_set_style_text_color(score_label, lv_color_white(),
                              0); // White text if on black wall?
  // Wait, top row is wall. Text might be hidden.
  // Let's modify map row 0 to be empty? No, walls needed.
  // Let's make label text INVERTED? Or just use a background?
  lv_obj_set_style_bg_color(score_label, lv_color_white(), 0);
  lv_obj_set_style_bg_opa(score_label, LV_OPA_COVER, 0);
  lv_obj_set_style_text_color(score_label, lv_color_black(), 0);

  game_over_label = lv_label_create(main_cont);
  lv_label_set_text(game_over_label, "GAME OVER");
  lv_obj_center(game_over_label);
  lv_obj_add_flag(game_over_label, LV_OBJ_FLAG_HIDDEN);
  lv_obj_set_style_bg_color(game_over_label, lv_color_white(), 0);
  lv_obj_set_style_bg_opa(game_over_label, LV_OPA_COVER, 0);

  reset_game();
  last_tick = k_uptime_get();
}

static void try_move_entity(Entity *e) {
  // Try Next Dir
  if (e->next_dir_x != 0 || e->next_dir_y != 0) {
    int nx = e->x + e->next_dir_x;
    int ny = e->y + e->next_dir_y;
    if (nx >= 0 && nx < COLS && ny >= 0 && ny < ROWS &&
        map[nx][ny] != TILE_WALL) {
      e->dir_x = e->next_dir_x;
      e->dir_y = e->next_dir_y;
    }
  }

  // Move in Current Dir
  int nx = e->x + e->dir_x;
  int ny = e->y + e->dir_y;

  if (nx >= 0 && nx < COLS && ny >= 0 && ny < ROWS &&
      map[nx][ny] != TILE_WALL) {
    e->x = nx;
    e->y = ny;
  }
}

static void move_ghost_ai(void) {
  // Simple Stupid AI: Move towards player + random noise
  // 60% chance to chase, 40% random
  int tx, ty;

  if (sys_rand32_get() % 100 < 60) {
    tx = player.x;
    ty = player.y;
  } else {
    tx = sys_rand32_get() % COLS;
    ty = sys_rand32_get() % ROWS;
  }

  // Directions: Up, Down, Left, Right
  int dx[] = {0, 0, -1, 1};
  int dy[] = {-1, 1, 0, 0};

  int best_dist = 9999;
  int best_dir = -1;

  // Filter out reverse direction to prevent jitter?
  // Nah, keep it simple.

  for (int i = 0; i < 4; i++) {
    int nx = ghost.x + dx[i];
    int ny = ghost.y + dy[i];

    if (nx >= 0 && nx < COLS && ny >= 0 && ny < ROWS &&
        map[nx][ny] != TILE_WALL) {
      int dist = (nx - tx) * (nx - tx) + (ny - ty) * (ny - ty);
      if (dist < best_dist) {
        best_dist = dist;
        best_dir = i;
      }
    }
  }

  if (best_dir != -1) {
    ghost.x += dx[best_dir];
    ghost.y += dy[best_dir];
  }
}

static void beagle_man_update(void) {
  int btn_up_curr = gpio_pin_get_dt(&btn_up);

  // Use real Down button
  int btn_down_curr = gpio_pin_get_dt(&btn_down);

  int btn_left_curr = gpio_pin_get_dt(&btn_left);
  int btn_right_curr = gpio_pin_get_dt(&btn_right);

  // Input Buffering
  if (btn_up_curr) {
    player.next_dir_x = 0;
    player.next_dir_y = -1;
  }
  if (btn_down_curr) {
    player.next_dir_x = 0;
    player.next_dir_y = 1;
  }
  // Ignore Select for movement now
  if (btn_left_curr) {
    player.next_dir_x = -1;
    player.next_dir_y = 0;
  }
  if (btn_right_curr) {
    player.next_dir_x = 1;
    player.next_dir_y = 0;
  }

  static int btn_up_prev_gm = 0;
  if (game_over) {
    if (btn_up_curr && !btn_up_prev_gm) {
      reset_game();
    }
    btn_up_prev_gm = btn_up_curr;
    return;
  }
  btn_up_prev_gm = btn_up_curr;

  int64_t now = k_uptime_get();
  if (now - last_tick > game_speed) {

    // 1. Move Player
    try_move_entity(&player);

    // 2. Eat Dot
    if (dots[player.x][player.y]) {
      dots[player.x][player.y] = false;
      score += 10;
      play_beep_eat();
      lv_label_set_text_fmt(score_label, "Score: %d", score);
      // Speed up?
      if (score % 100 == 0 && game_speed > 150)
        game_speed -= 10;
    }

    // 3. Move Ghost (Slower? No, same speed for tension)
    // Move ghost every other tick? No, same speed.
    move_ghost_ai();

    // 4. Collision
    if (player.x == ghost.x && player.y == ghost.y) {
      game_over = true;
      play_beep_die();
      lv_label_set_text(game_over_label, "GAME OVER\nUP to Restart");
      lv_obj_clear_flag(game_over_label, LV_OBJ_FLAG_HIDDEN);
    }

    render_game();
    last_tick = now;
  }
}

static void beagle_man_exit(void) {
  if (main_cont) {
    lv_obj_del(main_cont);
    main_cont = NULL;
  }
}

App beagle_man_app = {.name = "BeagleMan",
                      .enter = beagle_man_enter,
                      .update = beagle_man_update,
                      .exit = beagle_man_exit};
```

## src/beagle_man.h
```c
#ifndef BEAGLE_MAN_H
#define BEAGLE_MAN_H

#include "app_shared.h"

extern App beagle_man_app;

#endif
```

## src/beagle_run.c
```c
#include "beagle_run.h"
#include <zephyr/random/random.h>

LOG_MODULE_REGISTER(beagle_run, LOG_LEVEL_INF);

// --- Constants ---
#define SCREEN_WIDTH 400
#define SCREEN_HEIGHT 300
#define CELL_SIZE 20
#define COLS (SCREEN_WIDTH / CELL_SIZE)
#define ROWS (SCREEN_HEIGHT / CELL_SIZE)

#define GROUND_Y (SCREEN_HEIGHT - CELL_SIZE) // Ground is bottom row
#define PLAYER_X 40                          // Fixed X pixel position (Col 2)

#define GRAVITY 4
#define JUMP_FORCE -35  // Higher jump for larger screen
#define SCROLL_SPEED 20 // 1 Cell per frame

// --- Game State ---
static int player_y;
static int player_vy;
static bool is_jumping;
static int score;
static bool game_over;
static int64_t last_tick;

typedef struct {
  int x;
  bool active;
} Obstacle;

#define MAX_OBSTACLES 5
static Obstacle obstacles[MAX_OBSTACLES];
static int next_spawn_distance;

// --- UI Objects ---
static lv_obj_t *main_cont;
static lv_obj_t *score_label;
static lv_obj_t *game_over_label;
static lv_obj_t *grid_cells[COLS][ROWS]; // Static Grid

// --- Input ---
static int btn_up_prev = 0;

static void set_cell_color(int x, int y, lv_color_t color) {
  if (x >= 0 && x < COLS && y >= 0 && y < ROWS && grid_cells[x][y]) {
    lv_obj_set_style_bg_color(grid_cells[x][y], color, 0);
  }
}

static void draw_rect_to_grid(int px, int py, int w, int h, lv_color_t color) {
  // Convert Pixel Rect to Grid Cells
  int start_col = px / CELL_SIZE;
  int end_col = (px + w - 1) / CELL_SIZE;
  int start_row = py / CELL_SIZE;
  int end_row = (py + h - 1) / CELL_SIZE;

  for (int c = start_col; c <= end_col; c++) {
    for (int r = start_row; r <= end_row; r++) {
      set_cell_color(c, r, color);
    }
  }
}

static void render_game(void) {
  // 1. Clear Grid (White)
  for (int x = 0; x < COLS; x++) {
    for (int y = 0; y < ROWS; y++) {
      set_cell_color(x, y, lv_color_white());
    }
  }

  // 2. Draw Ground (Static Line handled in enter, not per-frame)
  // draw_rect_to_grid(0, GROUND_Y, SCREEN_WIDTH, CELL_SIZE, lv_color_black());

  // 3. Draw Player
  // Player is CELL_SIZE x CELL_SIZE
  draw_rect_to_grid(PLAYER_X, player_y - CELL_SIZE, CELL_SIZE, CELL_SIZE,
                    lv_color_black());

  // 4. Draw Obstacles
  for (int i = 0; i < MAX_OBSTACLES; i++) {
    if (obstacles[i].active) {
      draw_rect_to_grid(obstacles[i].x, GROUND_Y - CELL_SIZE, CELL_SIZE,
                        CELL_SIZE, lv_color_black());
    }
  }
}

static void reset_game(void) {
  player_y = GROUND_Y;
  player_vy = 0;
  is_jumping = false;
  score = 0;
  game_over = false;
  next_spawn_distance = 0;

  for (int i = 0; i < MAX_OBSTACLES; i++) {
    obstacles[i].active = false;
    obstacles[i].x = SCREEN_WIDTH + 100;
  }

  if (game_over_label)
    lv_obj_add_flag(game_over_label, LV_OBJ_FLAG_HIDDEN);
  if (score_label)
    lv_label_set_text(score_label, "Score: 0");

  render_game();
}

static void beagle_run_enter(void) {
  main_cont = lv_obj_create(lv_scr_act());
  lv_obj_set_size(main_cont, LV_PCT(100), LV_PCT(100));
  lv_obj_set_style_bg_color(main_cont, lv_color_white(), 0);
  lv_obj_set_scrollbar_mode(main_cont, LV_SCROLLBAR_MODE_OFF);
  lv_obj_clear_flag(main_cont, LV_OBJ_FLAG_SCROLLABLE);

  // Create Static Grid
  for (int x = 0; x < COLS; x++) {
    for (int y = 0; y < ROWS; y++) {
      lv_obj_t *cell = lv_obj_create(main_cont);
      lv_obj_set_size(cell, CELL_SIZE, CELL_SIZE);
      lv_obj_set_pos(cell, x * CELL_SIZE, y * CELL_SIZE);
      lv_obj_set_style_border_width(cell, 0, 0); // No Borders for seamless look
      lv_obj_set_style_radius(cell, 0, 0);
      lv_obj_set_style_bg_color(cell, lv_color_white(), 0);
      grid_cells[x][y] = cell;
    }
  }

  // Static Ground Line (Thinner, independent of grid)
  lv_obj_t *ground_line = lv_obj_create(main_cont);
  lv_obj_set_size(ground_line, SCREEN_WIDTH, 4); // 4px thin line
  lv_obj_set_pos(ground_line, 0, GROUND_Y);
  lv_obj_set_style_bg_color(ground_line, lv_color_black(), 0);
  lv_obj_set_style_border_width(ground_line, 0, 0);
  lv_obj_move_foreground(ground_line); // On top of grid cells

  // Score Label (Overlay)
  score_label = lv_label_create(main_cont);
  lv_obj_align(score_label, LV_ALIGN_TOP_RIGHT, -10, 10);
  lv_obj_set_style_text_color(score_label, lv_color_black(), 0);

  // Game Over Label
  game_over_label = lv_label_create(main_cont);
  lv_label_set_text(game_over_label, "GAME OVER\nPress UP to Restart");
  lv_obj_set_style_text_align(game_over_label, LV_TEXT_ALIGN_CENTER, 0);
  lv_obj_center(game_over_label);
  lv_obj_add_flag(game_over_label, LV_OBJ_FLAG_HIDDEN);
  lv_obj_move_foreground(game_over_label); // Ensure on top of grid

  reset_game();
  last_tick = k_uptime_get();
}

static void beagle_run_update(void) {
  int btn_up_curr = gpio_pin_get_dt(&btn_up);

  if (game_over) {
    if (btn_up_curr && !btn_up_prev) {
      reset_game();
    }
    btn_up_prev = btn_up_curr;
    return;
  }

  // Loop Interval: 50ms = 20 FPS (Good for discrete stepping if speed is high)
  // If we want 1-cell moves:
  // With Speed 20px, 50ms -> 400px/s -> 1 screen/s.
  int64_t now = k_uptime_get();
  if (now - last_tick < 50)
    return;
  last_tick = now;

  // --- Input (Jump) ---
  if (btn_up_curr && !btn_up_prev) {
    if (!is_jumping) {
      if (player_y >= GROUND_Y) {
        player_vy = JUMP_FORCE;
        is_jumping = true;
      }
    }
  }
  btn_up_prev = btn_up_curr;

  // --- Physics ---
  player_y += player_vy;
  player_vy += GRAVITY;

  if (player_y > GROUND_Y) {
    player_y = GROUND_Y;
    player_vy = 0;
    is_jumping = false;
  }

  // --- Obstacles ---
  next_spawn_distance -= SCROLL_SPEED;
  if (next_spawn_distance <= 0) {
    for (int i = 0; i < MAX_OBSTACLES; i++) {
      if (!obstacles[i].active) {
        obstacles[i].active = true;
        obstacles[i].x = SCREEN_WIDTH + CELL_SIZE; // Start offscreen
        // Random spawn 200-600px
        next_spawn_distance = 200 + (sys_rand32_get() % 400);
        break;
      }
    }
  }

  for (int i = 0; i < MAX_OBSTACLES; i++) {
    if (obstacles[i].active) {
      obstacles[i].x -= SCROLL_SPEED;

      // Collision AABB
      int p_left = PLAYER_X;
      int p_right = p_left + CELL_SIZE;
      int p_top = player_y - CELL_SIZE;
      int p_bottom = player_y;

      int o_left = obstacles[i].x;
      int o_right = o_left + CELL_SIZE;
      int o_top = GROUND_Y - CELL_SIZE;
      int o_bottom = GROUND_Y;

      // Simple logic: if ranges overlap
      if (p_right > o_left && p_left < o_right && p_bottom > o_top &&
          p_top < o_bottom) {
        game_over = true;
        lv_obj_clear_flag(game_over_label, LV_OBJ_FLAG_HIDDEN);
        lv_obj_move_foreground(game_over_label);
      }

      if (obstacles[i].x < -CELL_SIZE) {
        obstacles[i].active = false;
        score++;
        lv_label_set_text_fmt(score_label, "Score: %d", score);
        lv_obj_move_foreground(score_label);
      }
    }
  }

  render_game();
}

static void beagle_run_exit(void) {
  if (main_cont) {
    lv_obj_del(main_cont);
    main_cont = NULL;
  }
}

App beagle_run_app = {.name = "Beagle Run",
                      .enter = beagle_run_enter,
                      .update = beagle_run_update,
                      .exit = beagle_run_exit};
```

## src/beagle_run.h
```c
#ifndef BEAGLE_RUN_H
#define BEAGLE_RUN_H

#include "app_shared.h"

extern App beagle_run_app;

#endif
```

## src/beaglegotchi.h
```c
#ifndef BEAGLEGOTCHI_H
#define BEAGLEGOTCHI_H

#include "app_shared.h"

extern App beaglegotchi_app;

#endif
```
